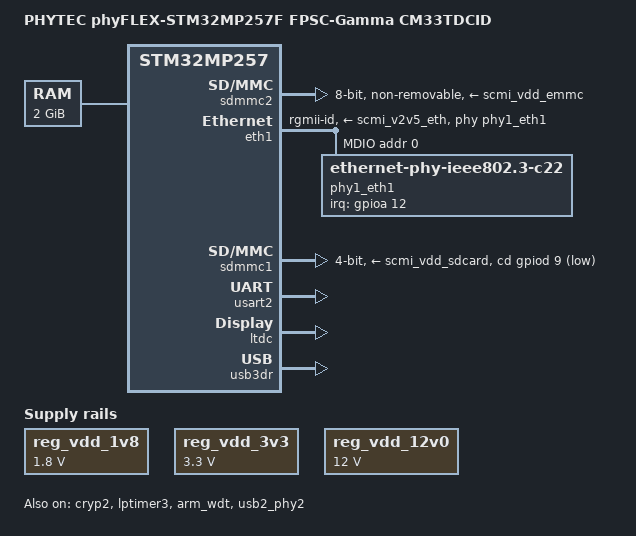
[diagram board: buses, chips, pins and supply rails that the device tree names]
// SPDX-License-Identifier: (GPL-2.0+ OR BSD-3-Clause)
/*
 * Copyright (C) 2026 PHYTEC Messtechnik GmbH
 * Authors: Christophe Parant <c.parant@phytec.fr>
 *          Nicolas Raimundo <n.raimundo@phytec.fr>
 */

/dts-v1/;

#include "stm32mp257.dtsi"
#include "stm32mp25xf.dtsi"

#include <dt-bindings/gpio/gpio.h>
#include "stm32mp257f-phyflex-fpsc-g-som-m33td-resmem.dtsi"
#include "stm32mp2-phyflex-fpsc-g-som-pinctrl.dtsi"
#include "stm32mp25xxak-pinctrl.dtsi"
#include <dt-bindings/net/ti-dp83867.h>

/ {
	model = "PHYTEC phyFLEX-STM32MP257F FPSC-Gamma CM33TDCID";
	compatible = "phytec,stm32mp257f-phyflex-fpsc-g-som",
	             "st,stm32mp257";

	memory@80000000 {
		device_type = "memory";
		reg = <0x0 0x80000000 0x0 0x80000000>;
	};

	aliases {
		serial0 = &usart2;
		ethernet0 = &eth1;
	};

	ca35ss_clk: ca35ss-clk {
		compatible = "st,stm32mp2-ca35ss-clk";
		#clock-cells = <0>;
	};

	cpu0_opp_table: cpu0-opp-table {
		compatible = "operating-points-v2";
		opp-shared;

		opp-1200000000 {
			opp-hz = /bits/ 64 <1200000000>;
			opp-suspend;
		};

		opp-1500000000 {
			opp-hz = /bits/ 64 <1500000000>;
		};
	};

	chosen {
		stdout-path = "serial0:115200n8";
		#address-cells = <2>;
		#size-cells = <2>;
		ranges;

		framebuffer {
			compatible = "simple-framebuffer";
			clocks = <&rcc CK_BUS_LTDC>, <&rcc CK_KER_LTDC>,
				 <&rcc CK_BUS_LVDS>, <&rcc CK_KER_LVDSPHY>;
			status = "disabled";
		};
	};

	reg_vdd_1v8: regulator-vdd-1v8 {
		compatible = "regulator-fixed";
		regulator-always-on;
		regulator-boot-on;
		regulator-min-microvolt = <1800000>;
		regulator-max-microvolt = <1800000>;
		regulator-name = "VDD_1V8";
	};

	reg_vdd_3v3: regulator-vdd-3v3 {
		compatible = "regulator-fixed";
		regulator-always-on;
		regulator-boot-on;
		regulator-min-microvolt = <3300000>;
		regulator-max-microvolt = <3300000>;
		regulator-name = "VDD_3V3";
	};

	reg_vdd_12v0: regulator-12v0 {
		compatible = "regulator-fixed";
		regulator-always-on;
		regulator-boot-on;
		regulator-max-microvolt = <12000000>;
		regulator-min-microvolt = <12000000>;
		regulator-name = "VDD_12V0";
	};
};

&bsec {
	memory-region = <&bsec_mirror >;
};

&crc {
	status = "disabled";
};

&cryp2 {
	status = "okay";
};

&cpu0 {
	operating-points-v2 = <&cpu0_opp_table>;
	clocks = <&ca35ss_clk>;
};

&cpu1 {
	operating-points-v2 = <&cpu0_opp_table>;
	clocks = <&ca35ss_clk>;
};

&ipcc1 {
	/delete-property/clocks;
	status = "okay";
};

&ipcc2 {
	status = "disabled";
};

/* use LPTIMER with tick broadcast for suspend mode */
&lptimer3 {
	clocks = <&rcc CK_LPTIM3_AM>;
	status = "okay";
	timer {
		status = "okay";
	};
};

&hpdma {
	memory-region = <&hpdma1_lli>;
};

&hpdma2 {
	memory-region = <&hpdma2_lli>;
};

&hpdma3 {
	memory-region = <&hpdma3_lli>;
};

&arm_wdt {
	timeout-sec = <32>;
	status = "okay";
};

&sdmmc2 {
	pinctrl-names = "default", "opendrain", "sleep";
	pinctrl-0 = <&sdmmc2_b4_pins_a &sdmmc2_d47_pins_a>;
	pinctrl-1 = <&sdmmc2_b4_od_pins_a &sdmmc2_d47_pins_a>;
	pinctrl-2 = <&sdmmc2_b4_sleep_pins_a &sdmmc2_d47_sleep_pins_a>;
	non-removable;
	no-sd;
	no-sdio;
	st,neg-edge;
	bus-width = <8>;
	vmmc-supply = <&scmi_vdd_emmc>;
	vqmmc-supply = <&scmi_vddio2>;
	mmc-ddr-1_8v;
	mmc-hs200-1_8v;
	status = "okay";
};

&eth1 {
	status = "okay";
	pinctrl-0 = <&eth1_rgmii_pins_c &eth1_mdio_pins_a>;
	pinctrl-1 = <&eth1_rgmii_sleep_pins_c &eth1_mdio_sleep_pins_a>;
	pinctrl-names = "default", "sleep";
	phy-mode = "rgmii-id";
	max-speed = <1000>;
	phy-handle = <&phy1_eth1>;
	st,eth-clk-sel;
	phy-supply = <&scmi_v2v5_eth>;

	mdio1 {
		#address-cells = <1>;
		#size-cells = <0>;
		compatible = "snps,dwmac-mdio";
		phy1_eth1: ethernet-phy@0 {
			compatible = "ethernet-phy-ieee802.3-c22";
			interrupt-parent = <&gpioa>;
			interrupts = <12 IRQ_TYPE_LEVEL_LOW>;
			ti,rx-internal-delay = <DP83867_RGMIIDCTL_2_00_NS>;
			ti,tx-internal-delay = <DP83867_RGMIIDCTL_2_00_NS>;
			ti,fifo-depth = <DP83867_PHYCR_FIFO_DEPTH_4_B_NIB>;
			ti,clk-output-sel = <DP83867_CLK_O_SEL_OFF>;
			enet-phy-lane-no-swap;
			reg = <0x0>;
		};
	};
};

&scmi_regu {
	scmi_vddio1: regulator@0 {
		regulator-min-microvolt = <1800000>;
		regulator-max-microvolt = <3300000>;
	};
	scmi_vddcore: regulator@b {
		reg = <VOLTD_SCMI_STPMIC2_BUCK2>;
		regulator-name = "vddcore";
	};
	scmi_v1v8: regulator@e {
		reg = <VOLTD_SCMI_STPMIC2_BUCK5>;
		regulator-name = "v1v8";
	};
	scmi_v3v3: regulator@10 {
		reg = <VOLTD_SCMI_STPMIC2_BUCK7>;
		regulator-name = "v3v3";
	};
	scmi_vdd_emmc: regulator@12 {
		reg = <VOLTD_SCMI_STPMIC2_LDO2>;
		regulator-name = "vdd_emmc";
	};
	scmi_vdd3v3_usb: regulator@14 {
		reg = <VOLTD_SCMI_STPMIC2_LDO4>;
		regulator-name = "vdd3v3_usb";
	};
	scmi_v2v5_eth: regulator@15 {
		reg = <VOLTD_SCMI_STPMIC2_LDO5>;
		regulator-name = "VDD_ENET_2V5";
	};
	scmi_pmic_ld06: regulator@16 {
		reg = <VOLTD_SCMI_STPMIC2_LDO6>;
		regulator-name = "X_PMIC_LDO6";
	};
	scmi_vdd_sdcard: regulator@17 {
		reg = <VOLTD_SCMI_STPMIC2_LDO7>;
		regulator-name = "vdd_sdcard";
	};
};

&sdmmc1 {
	pinctrl-names = "default", "opendrain", "sleep";
	pinctrl-0 = <&sdmmc1_b4_pins_c>;
	pinctrl-1 = <&sdmmc1_b4_od_pins_c>;
	pinctrl-2 = <&sdmmc1_b4_sleep_pins_a>;
	cd-gpios = <&gpiod 9 (GPIO_ACTIVE_LOW | GPIO_PULL_UP)>;
	disable-wp;
	st,neg-edge;
	bus-width = <4>;
	vmmc-supply = <&scmi_vdd_sdcard>;
	vqmmc-supply = <&scmi_vddio1>;
	sd-uhs-sdr12;
	sd-uhs-sdr25;
	sd-uhs-sdr50;
	sd-uhs-ddr50;
	sd-uhs-sdr104;
	status = "okay";
};

&usart2 {
	pinctrl-names = "default", "idle", "sleep";
	pinctrl-0 = <&usart2_pins_a>;
	pinctrl-1 = <&usart2_idle_pins_a>;
	pinctrl-2 = <&usart2_sleep_pins_a>;
	/delete-property/dmas;
	/delete-property/dma-names;
	status = "okay";
};

&ltdc {
       default-on;
       status = "okay";

	port {
		#address-cells = <1>;
		#size-cells = <0>;

		ltdc_ep0_out: endpoint@0 {
			reg = <0>;
		};

		ltdc_ep1_out: endpoint@1 {
			reg = <1>;
		};
	};
};

&usb2_phy2 {
	vdd33-supply = <&scmi_vdd3v3_usb>;
	status = "okay";
};

&usb3dr {
	status = "okay";

	dwc3: usb@48300000 {
		maximum-speed = "high-speed";
		usb-role-switch;
		role-switch-default-mode = "peripheral";
		port {
			usb3_hs_ep: endpoint {
				remote-endpoint = <&con_usb3_hs_ep>;
			};
		};
	};
};
